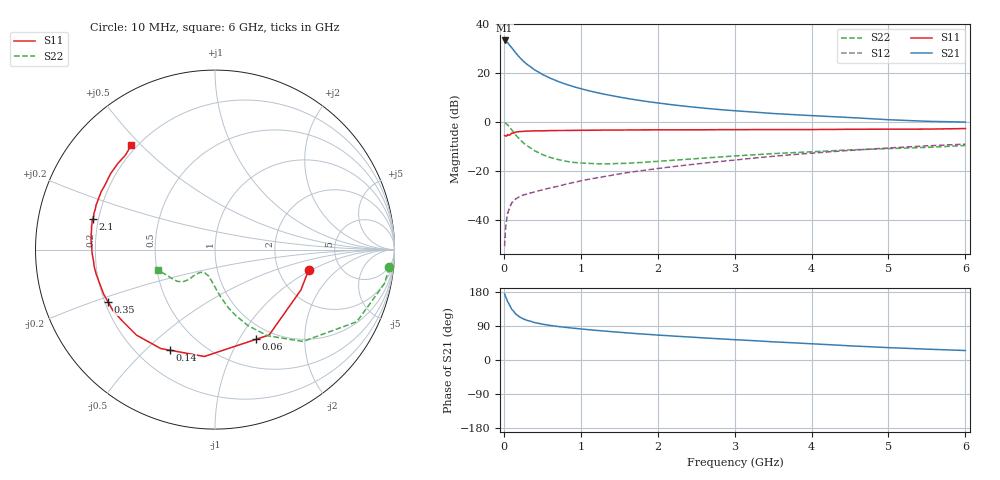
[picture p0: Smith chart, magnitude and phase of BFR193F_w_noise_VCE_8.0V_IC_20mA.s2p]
! Infineon Technologies  Discrete & RF Semiconductors
! BFR193F
! VCE =  8.0 V,  IC =  20 mA
! Common Emitter S-Parameters:  Jan 2017
# GHz  S  MA  R  50
!  f  S11  S21  S12  S22
! GHz  MAG  ANG  MAG  ANG  MAG  ANG  MAG  ANG
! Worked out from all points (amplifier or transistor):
!   77 points, 10 MHz to 6 GHz, reference 50 ohm
!   highest |S21| = 33.3 dB at 10 MHz (marker M1)
!   |S21| within 3 dB of that: start of sweep to 104.1 MHz
!   unconditionally stable (mu >= 1): 1.296 GHz to 2.734 GHz
!   at 130 MHz: K = 0.28, MSG = 30.6 dB, |S12| = -31.9 dB
!   at 2.2 GHz: K = 1.03, MAG = 11.6 dB, |S12| = -18.1 dB
!   at 6 GHz: K = 0.83, MSG = 4.5 dB, |S12| = -8.9 dB
!   lowest NFmin = 1.04 dB at 450 MHz
!   S11 on the Smith chart (normalised r, x): 10 MHz: 2.98, -0.93; 60 MHz: 0.83, -1.19; 140 MHz: 0.33, -0.59; 350 MHz: 0.21, -0.22; 2.1 GHz: 0.18, +0.12; 6 GHz: 0.18, +0.47
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0.01  0.5348 -12.0  46.32 174.4  0.003 84.0  0.9759 -5.8
0.02  0.5288 -25.2  45.16 168.5  0.0061 80.5  0.9633 -11.3
0.05  0.5633 -57.6  41.79 153.5  0.0139 67.2  0.8867 -26.9
0.06  0.5498 -65.3  39.8 150.4  0.0156 64.0  0.8446 -30.1
0.1  0.5984 -95.7  33.41 134.4  0.0225 56.0  0.7093 -46.2
0.14  0.6149 -114.3  27.68 125.3  0.0262 50.4  0.5895 -55.6
0.15  0.6287 -118.7  26.39 122.4  0.0272 49.2  0.5627 -58.6
0.2  0.6468 -132.5  21.36 114.3  0.0303 46.3  0.462 -66.5
0.25  0.6515 -142.3  17.74 108.7  0.0329 46.2  0.3851 -72.5
0.3  0.6624 -149.1  15.16 104.7  0.0346 45.7  0.3347 -76.9
0.35  0.6632 -153.7  13.39 102.1  0.0364 47.0  0.2985 -79.8
0.4  0.6681 -158.2  11.65 98.7  0.0382 48.1  0.2633 -83.4
0.5  0.6703 -164.0  9.441 94.6  0.0421 50.2  0.2201 -88.4
0.6  0.6761 -168.5  7.938 91.3  0.0459 53.3  0.1924 -92.6
0.8  0.6798 -174.5  5.994 86.2  0.0545 57.8  0.1614 -100.3
1.1  0.6868 179.0  4.403 80.0  0.0689 62.7  0.146 -109.1
1.5  0.6946 173.0  3.262 73.2  0.0887 66.8  0.1451 -118.2
2.1  0.7018 166.0  2.366 64.6  0.1197 69.6  0.1643 -126.0
3.1  0.7079 156.9  1.674 52.6  0.1763 70.6  0.2108 -130.4
4.1  0.7126 147.8  1.341 41.8  0.2414 68.3  0.2552 -135.9
5.1  0.7233 137.5  1.111 31.8  0.3058 63.7  0.2937 -148.1
6  0.7451 128.8  1.009 25.0  0.3592 58.7  0.3364 -160.4
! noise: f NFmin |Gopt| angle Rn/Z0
0.45  1.04  0.33  168  0.06
0.9  1.12  0.39  169  0.07
1.9  1.71  0.57  -171  0.06
2.4  2.01  0.61  -161  0.1
